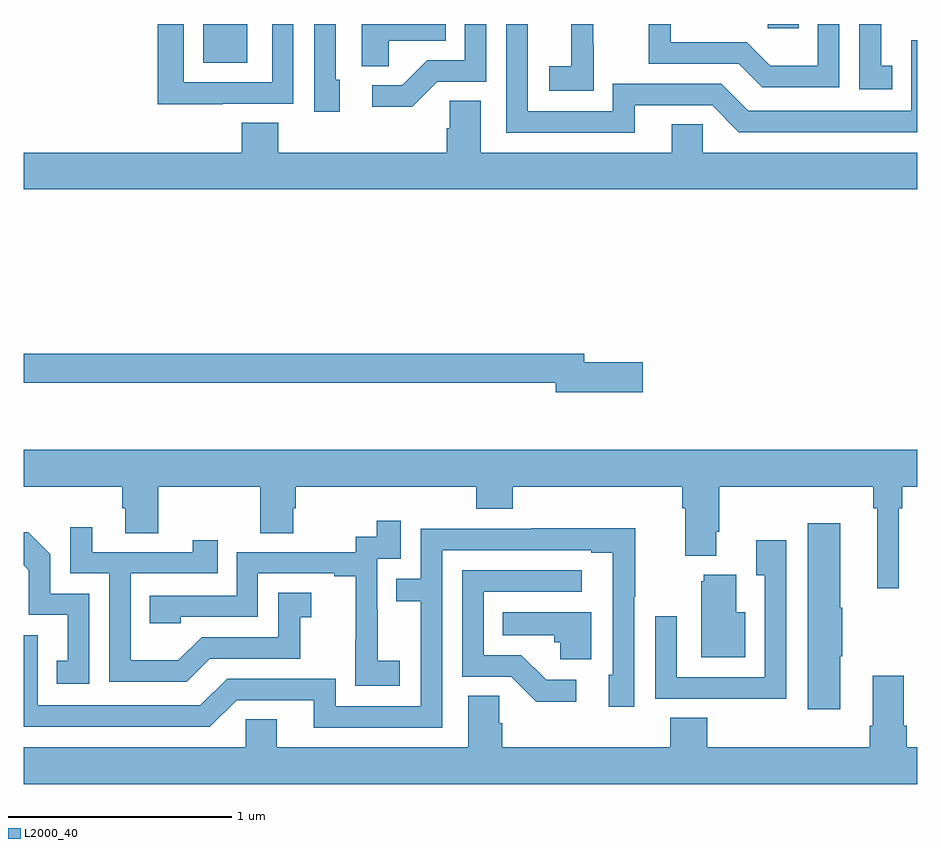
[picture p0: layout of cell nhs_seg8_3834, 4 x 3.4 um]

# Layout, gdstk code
import gdstk
lib = gdstk.Library(unit=1e-6, precision=1e-09)
def R(c, l, rs):  # rectangles x0, y0, x1, y1
    for r in rs: c.add(gdstk.rectangle(r[:2], r[2:], *l))
def P(c, l, *ps):  # polygons
    for p in ps: c.add(gdstk.Polygon(p, *l))
L2000_40 = (2000, 40)

nhs_seg8_3834 = lib.new_cell('nhs_seg8_3834')
R(nhs_seg8_3834, L2000_40, [(347.804,1123.727,348.001,1123.9), (350.331,1123.881,350.471,1123.9)])
P(nhs_seg8_3834, L2000_40, [(347.891,1123.542),(348.207,1123.542),(348.207,1123.9),(348.111,1123.9),(348.111,1123.638),(347.715,1123.638),(347.715,1123.9),(347.599,1123.9),(347.599,1123.541),(347.891,1123.541)],
  [(348.852,1123.641),(349.071,1123.641),(349.071,1123.9),(348.975,1123.9),(348.975,1123.737),(348.806,1123.737),(348.695,1123.626),(348.561,1123.626),(348.561,1123.529),(348.739,1123.529)],
  [(348.633,1123.826),(348.89,1123.826),(348.89,1123.9),(348.512,1123.9),(348.512,1123.711),(348.633,1123.711)],
  [(350.888,1123.713),(350.839,1123.713),(350.839,1123.9),(350.742,1123.9),(350.742,1123.608),(350.888,1123.608)],
  [(350.652,1123.9),(350.556,1123.9),(350.556,1123.714),(350.342,1123.714),(350.238,1123.818),(349.896,1123.818),(349.896,1123.9),(349.798,1123.9),(349.798,1123.722),(350.201,1123.722),(350.306,1123.617),(350.652,1123.617)],
  [(348.415,1123.65),(348.396,1123.65),(348.396,1123.9),(348.3,1123.9),(348.3,1123.506),(348.415,1123.506)],
  [(349.735,1123.536),(350.082,1123.536),(350.202,1123.416),(351,1123.416),(351,1123.827),(350.973,1123.827),(350.973,1123.512),(350.244,1123.512),(350.124,1123.632),(349.638,1123.632),(349.638,1123.509),(349.257,1123.509),(349.257,1123.9),(349.161,1123.9),(349.161,1123.413),(349.735,1123.413)],
  [(349.551,1123.807),(349.55,1123.807),(349.55,1123.9),(349.451,1123.9),(349.451,1123.711),(349.353,1123.711),(349.353,1123.601),(349.551,1123.601)],
  [(351,1123.324),(350.04,1123.324),(350.04,1123.451),(349.901,1123.451),(349.901,1123.324),(349.045,1123.324),(349.045,1123.556),(348.906,1123.556),(348.906,1123.433),(348.893,1123.433),(348.893,1123.324),(348.14,1123.324),(348.14,1123.457),(347.975,1123.457),(347.975,1123.324),(347,1123.324),(347,1123.16),(351,1123.16)],
  [(349.771,1122.386),(349.51,1122.386),(349.51,1122.422),(347,1122.422),(347,1122.294),(349.382,1122.294),(349.382,1122.251),(349.771,1122.251)],
  [(350.919,1121.732),(350.933,1121.732),(350.933,1121.828),(351,1121.828),(351,1121.992),(347,1121.992),(347,1121.828),(347.441,1121.828),(347.441,1121.73),(347.453,1121.73),(347.453,1121.62),(347.601,1121.62),(347.601,1121.828),(348.058,1121.828),(348.058,1121.62),(348.205,1121.62),(348.205,1121.73),(348.218,1121.73),(348.218,1121.828),(349.025,1121.828),(349.025,1121.729),(349.19,1121.729),(349.19,1121.828),(349.949,1121.828),(349.949,1121.732),(349.961,1121.732),(349.961,1121.519),(350.101,1121.519),(350.101,1121.626),(350.114,1121.626),(350.114,1121.828),(350.803,1121.828),(350.803,1121.732),(350.822,1121.732),(350.822,1121.373),(350.919,1121.373)],
  [(348.682,1121.047),(348.584,1121.047),(348.584,1121.276),(348.582,1121.276),(348.582,1121.505),(348.687,1121.505),(348.687,1121.674),(348.579,1121.674),(348.579,1121.604),(348.486,1121.604),(348.486,1121.535),(347.952,1121.535),(347.952,1121.34),(347.563,1121.34),(347.563,1121.217),(347.703,1121.217),(347.703,1121.244),(348.048,1121.244),(348.048,1121.439),(348.389,1121.439),(348.389,1121.427),(348.485,1121.427),(348.485,1121.143),(348.484,1121.143),(348.484,1120.937),(348.682,1120.937)],
  [(350.656,1121.068),(350.664,1121.068),(350.664,1121.285),(350.656,1121.285),(350.656,1121.665),(350.51,1121.665),(350.51,1120.83),(350.656,1120.83)],
  [(347.833,1121.058),(348.237,1121.058),(348.237,1121.243),(348.286,1121.243),(348.286,1121.353),(348.138,1121.353),(348.138,1121.154),(347.796,1121.154),(347.692,1121.05),(347.478,1121.05),(347.478,1121.439),(347.867,1121.439),(347.867,1121.587),(347.756,1121.587),(347.756,1121.535),(347.305,1121.535),(347.305,1121.647),(347.208,1121.647),(347.208,1121.439),(347.382,1121.439),(347.382,1120.953),(347.728,1120.953)],
  [(348.873,1121.544),(349.541,1121.544),(349.541,1121.532),(349.638,1121.532),(349.638,1120.986),(349.619,1120.986),(349.619,1120.842),(349.734,1120.842),(349.734,1121.335),(349.737,1121.335),(349.737,1121.642),(349.273,1121.642),(349.273,1121.64),(348.777,1121.64),(348.777,1121.415),(348.667,1121.415),(348.667,1121.314),(348.777,1121.314),(348.777,1120.845),(348.396,1120.845),(348.396,1120.968),(347.91,1120.968),(347.79,1120.848),(347.061,1120.848),(347.061,1121.163),(347,1121.163),(347,1120.752),(347.832,1120.752),(347.952,1120.872),(348.299,1120.872),(348.299,1120.749),(348.873,1120.749)],
  [(347.292,1121.349),(347.118,1121.349),(347.118,1121.526),(347.02,1121.624),(347,1121.624),(347,1121.476),(347.022,1121.454),(347.022,1121.253),(347.195,1121.253),(347.195,1121.049),(347.146,1121.049),(347.146,1120.944),(347.292,1120.944)],
  [(350.415,1121.587),(350.279,1121.587),(350.279,1121.431),(350.319,1121.431),(350.319,1120.974),(349.923,1120.974),(349.923,1121.248),(349.827,1121.248),(349.827,1120.878),(350.143,1120.878),(350.143,1120.877),(350.415,1120.877)],
  [(349.474,1120.962),(349.339,1120.962),(349.228,1121.073),(349.059,1121.073),(349.059,1121.358),(349.498,1121.358),(349.498,1121.454),(348.963,1121.454),(348.963,1120.977),(349.182,1120.977),(349.295,1120.865),(349.474,1120.865)],
  [(350.23,1121.266),(350.191,1121.266),(350.191,1121.434),(350.045,1121.434),(350.045,1121.403),(350.033,1121.403),(350.033,1121.063),(350.23,1121.063)],
  [(349.54,1121.266),(349.144,1121.266),(349.144,1121.162),(349.375,1121.162),(349.375,1121.13),(349.401,1121.13),(349.401,1121.054),(349.54,1121.054)],
  [(347.994,1120.787),(347.994,1120.66),(347,1120.66),(347,1120.496),(351,1120.496),(351,1120.66),(350.954,1120.66),(350.954,1120.756),(350.941,1120.756),(350.941,1120.981),(350.801,1120.981),(350.801,1120.756),(350.789,1120.756),(350.789,1120.66),(350.06,1120.66),(350.06,1120.793),(349.895,1120.793),(349.895,1120.66),(349.142,1120.66),(349.142,1120.769),(349.128,1120.769),(349.128,1120.892),(348.989,1120.892),(348.989,1120.66),(348.133,1120.66),(348.133,1120.787)])

lib.write_gds('nhs_seg8_3834.gds')
